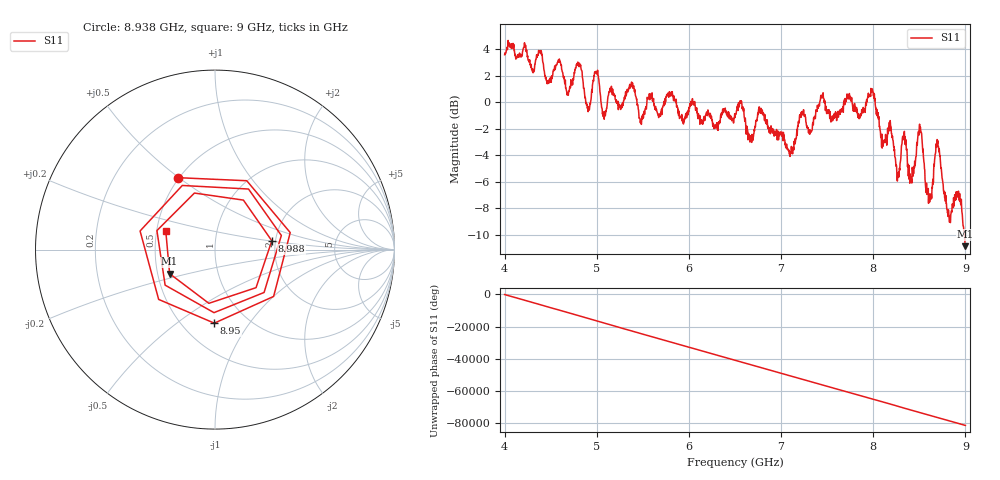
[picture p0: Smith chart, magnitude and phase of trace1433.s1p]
! Created with skrf 1.8.0 (http://scikit-rf.org).
# Hz S RI R 50.0
!freq ReS11 ImS11
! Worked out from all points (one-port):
!   1601 points, 4 GHz to 9 GHz, reference 50 ohm
!   lowest |S11| = -10.9 dB at 8.997 GHz (marker M1), VSWR 1.80, Z = 28.9 - j8.45 ohm
!   |S11| at or under -10 dB: 8.989452 GHz to end of sweep
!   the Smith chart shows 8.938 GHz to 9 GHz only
!   S11 on the Smith chart (normalised r, x): 8.938 GHz: 0.49, +0.49; 8.95 GHz: 0.71, -0.70; 8.988 GHz: 1.91, +0.21; 9 GHz: 0.56, +0.12
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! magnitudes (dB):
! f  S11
! 4 GHz  3.6
! 4.625 GHz  2.3
! 4.816 GHz  2.8
! 4.906 GHz  -0.7
! 4.994 GHz  2.3
! 5.075 GHz  -0.9
! 5.25 GHz  -0.2
! 5.378 GHz  1.5
! 5.481 GHz  -1.4
! 5.875 GHz  -0.4
! 6.5 GHz  -1.2
! 7.125 GHz  -3.9
! 7.225 GHz  -0.8
! 7.75 GHz  0.2
! 7.994 GHz  0.8
! 8.262 GHz  -6.0
! 8.331 GHz  -2.5
! 8.375 GHz  -4.7
! 8.422 GHz  -4.9
! 8.506 GHz  -2.2
! 8.6 GHz  -7.6
! 8.697 GHz  -3.1
! 8.816 GHz  -8.1
! 8.938 GHz  -6.9
! 8.95 GHz  -7.7
! 8.988 GHz  -9.9
! 8.997 GHz  -10.9
! 9 GHz  -10.7
